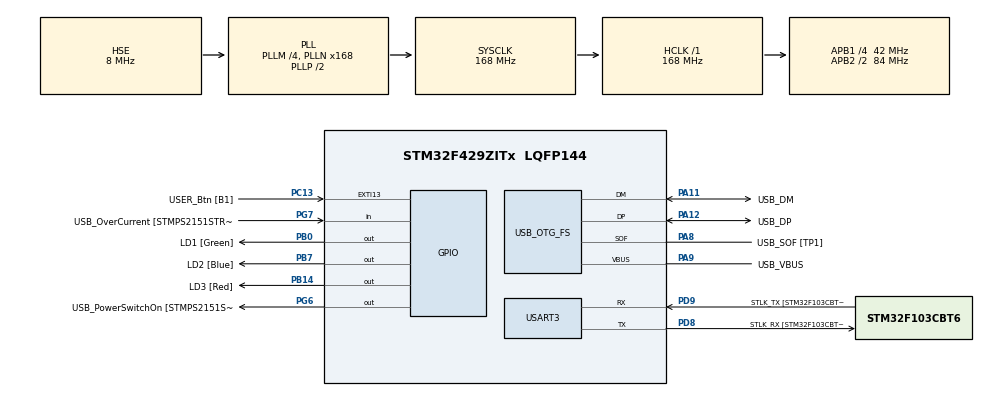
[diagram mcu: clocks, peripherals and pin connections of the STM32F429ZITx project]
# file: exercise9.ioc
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Mcu.Family=STM32F4
Mcu.Name=STM32F429ZITx
Mcu.Package=LQFP144
NVIC.OTG_FS_IRQn=true\:0\:0\:false\:false\:true\:true\:true
NVIC.PriorityGroup=NVIC_PRIORITYGROUP_4
PA1.GPIO_Label=RMII_REF_CLK [LAN8742A-CZ-TR_REFCLK0]
PA1.Signal=ETH_REF_CLK
PA10.GPIO_Label=USB_ID
PA10.Signal=USB_OTG_FS_ID
PA11.GPIO_Label=USB_DM
PA11.Mode=Device_Only
PA11.Signal=USB_OTG_FS_DM
PA12.GPIO_Label=USB_DP
PA12.Mode=Device_Only
PA12.Signal=USB_OTG_FS_DP
PA13.GPIO_Label=TMS
PA13.Mode=Serial_Wire
PA13.Signal=SYS_JTMS-SWDIO
PA14.GPIO_Label=TCK
PA14.Mode=Serial_Wire
PA14.Signal=SYS_JTCK-SWCLK
PA2.GPIO_Label=RMII_MDIO [LAN8742A-CZ-TR_MDIO]
PA2.Signal=ETH_MDIO
PA7.GPIO_Label=RMII_CRS_DV [LAN8742A-CZ-TR_CRS_DV]
PA7.Signal=ETH_CRS_DV
PA8.GPIO_Label=USB_SOF [TP1]
PA8.Mode=Activate_SOF_FS
PA8.Signal=USB_OTG_FS_SOF
PA9.GPIO_Label=USB_VBUS
PA9.Mode=Activate_VBUS
PA9.Signal=USB_OTG_FS_VBUS
PB0.GPIO_Label=LD1 [Green]
PB0.Signal=GPIO_Output
PB13.GPIO_Label=RMII_TXD1 [LAN8742A-CZ-TR_TXD1]
PB13.Signal=ETH_TXD1
PB14.GPIO_Label=LD3 [Red]
PB14.Signal=GPIO_Output
PB7.GPIO_Label=LD2 [Blue]
PB7.Signal=GPIO_Output
PC1.GPIO_Label=RMII_MDC [LAN8742A-CZ-TR_MDC]
PC1.Signal=ETH_MDC
PC13.GPIO_Label=USER_Btn [B1]
PC13.Signal=GPXTI13
PC14/OSC32_IN.Mode=LSE-External-Oscillator
PC14/OSC32_IN.Signal=RCC_OSC32_IN
PC15/OSC32_OUT.Mode=LSE-External-Oscillator
PC15/OSC32_OUT.Signal=RCC_OSC32_OUT
PC4.GPIO_Label=RMII_RXD0 [LAN8742A-CZ-TR_RXD0]
PC4.Signal=ETH_RXD0
PC5.GPIO_Label=RMII_RXD1 [LAN8742A-CZ-TR_RXD1]
PC5.Signal=ETH_RXD1
PD8.GPIO_Label=STLK_RX [STM32F103CBT6_PA3]
PD8.Mode=Asynchronous
PD8.Signal=USART3_TX
PD9.GPIO_Label=STLK_TX [STM32F103CBT6_PA2]
PD9.Mode=Asynchronous
PD9.Signal=USART3_RX
PG11.GPIO_Label=RMII_TX_EN [LAN8742A-CZ-TR_TXEN]
PG11.Signal=ETH_TX_EN
PG13.GPIO_Label=RMII_TXD0 [LAN8742A-CZ-TR_TXD0]
PG13.Signal=ETH_TXD0
PG6.GPIO_Label=USB_PowerSwitchOn [STMPS2151STR_EN]
PG6.Signal=GPIO_Output
PG7.GPIO_Label=USB_OverCurrent [STMPS2151STR_FAULT]
PG7.Signal=GPIO_Input
PH0/OSC_IN.GPIO_Label=MCO [STM32F103CBT6_PA8]
PH0/OSC_IN.Mode=HSE-External-Clock-Source
PH0/OSC_IN.Signal=RCC_OSC_IN
PH1/OSC_OUT.Mode=HSE-External-Clock-Source
PH1/OSC_OUT.Signal=RCC_OSC_OUT
ProjectManager.HeapSize=0x200
ProjectManager.StackSize=0x400
ProjectManager.TargetToolchain=STM32CubeIDE
RCC.48MHZClocksFreq_Value=48000000
RCC.AHBFreq_Value=168000000
RCC.APB1CLKDivider=RCC_HCLK_DIV4
RCC.APB1Freq_Value=42000000
RCC.APB1TimFreq_Value=84000000
RCC.APB2CLKDivider=RCC_HCLK_DIV2
RCC.APB2Freq_Value=84000000
RCC.APB2TimCLKDivider=2
RCC.APB2TimFreq_Value=168000000
RCC.CortexFreq_Value=168000000
RCC.HCLKFreq_Value=168000000
RCC.HSE_VALUE=8000000
RCC.HSI_VALUE=16000000
RCC.PLLM=4
RCC.PLLMUL=RCC_PLL_MUL9
RCC.PLLN=168
RCC.PLLQ=7
RCC.PRESCALERUSB=RCC_USBCLKSOURCE_PLL_DIV1_5
RCC.SYSCLKFreq_VALUE=168000000
RCC.SYSCLKSource=RCC_SYSCLKSOURCE_PLLCLK
RCC.SYSCLKSourceVirtual=RCC_SYSCLKSOURCE_PLLCLK
RCC.USBFreq_Value=48000000
RCC.VCOOutputFreq_Value=336000000
USART3.VirtualMode=VM_ASYNC
USB_DEVICE.CLASS_NAME_FS=HID
USB_DEVICE.VirtualMode-HID_FS=Hid
USB_DEVICE.VirtualModeFS=Hid_FS
USB_OTG_FS.VirtualMode=Device_Only
VP_USB_DEVICE_VS_USB_DEVICE_HID_FS.Mode=HID_FS
board=NUCLEO-F429ZI

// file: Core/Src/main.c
/* USER CODE BEGIN Header */
/**
  ******************************************************************************
  * @file           : main.c
  * @brief          : Main program body
  ******************************************************************************
  * @attention
  *
  * <h2><center>&copy; Copyright (c) 2020 STMicroelectronics.
  * All rights reserved.</center></h2>
  *
  * This software component is licensed by ST under BSD 3-Clause license,
  * the "License"; You may not use this file except in compliance with the
  * License. You may obtain a copy of the License at:
  *                        opensource.org/licenses/BSD-3-Clause
  *
  ******************************************************************************
  */
/* USER CODE END Header */
#include "main.h"
#include "usb_device.h"

/* USER CODE BEGIN Includes */
#include"usbd_hid.h"
#include"math.h"
#include"stdbool.h"
/* USER CODE END Includes */

/* USER CODE BEGIN PD */
#define pi  3.14159265
/* USER CODE END PD */

UART_HandleTypeDef huart3;

/* USER CODE BEGIN PV */

extern USBD_HandleTypeDef hUsbDeviceFS;
static bool btn;
/* USER CODE END PV */

void SystemClock_Config(void);
static void MX_GPIO_Init(void);
static void MX_USART3_UART_Init(void);

/* USER CODE BEGIN 0 */

//druhy bod zadani Function for drawing a circle
/*static void circle(static int radius){
	float phi = 0;
	float x,y;
	static float sx,sy;
    int delta_x,delta_y;
	float theta ;
	// drawing the main circle
	for(int i = 0; i <= 50; i++){
		x = radius*cos(phi);
		y = radius*sin(phi);
		delta_x = (int8_t)(x - sx);
		delta_y = (int8_t)(y - sy);
		sx = x;
		sy = y;
		step(delta_x,delta_y);
		phi += 0.04 * pi;
	}
} */

/* treti  bod zadani */
//function for shifting the position of the mouse
void static shift(int delta_x,int delta_y){

	uint8_t buff[4];
	buff[0] = 0x00; //  bez stisku tlacitka
	buff[1] = (int8_t)(delta_x); // posun X +10
	buff[2] = (int8_t)(delta_y); // posun Y -3
	buff[3] = 0; // bez scrollu
	USBD_HID_SendReport(&hUsbDeviceFS, buff, sizeof(buff));
	HAL_Delay(USBD_HID_GetPollingInterval(&hUsbDeviceFS));

}

// function for drawing
static void step(int delta_x,int delta_y,bool btn){
	if (btn){
	uint8_t buff[4];
	buff[0] = 0x01; // stiskni leve tlacitko
	buff[1] = (int8_t)(delta_x); //
	buff[2] = (int8_t)(delta_y); //
	buff[3] = 0; // bez scrollu
	USBD_HID_SendReport(&hUsbDeviceFS, buff, sizeof(buff));
	HAL_Delay(USBD_HID_GetPollingInterval(&hUsbDeviceFS));
	}
}
// function for the smiley face
static void smiley(int radius){
	float phi = 0;
	float x,y;
	static float sx,sy;
    int delta_x,delta_y;
	// drawing the main circle
	for(int i = 0; i <= 50; i++){
		x = radius*cos(phi);
		y = radius*sin(phi);
		delta_x = (int8_t)(x - sx);
		delta_y = (int8_t)(y - sy);
		sx = x;
		sy = y;
		step(delta_x,delta_y,btn);
		phi += 0.04 * pi;
		if(i == 50)phi =0;
	}

	// the first eye
	int radius_eyes = 0.1*radius;
	shift(0.25*radius,0.25*radius);
	// the fist eye
	for(int i = 0; i <= 50; i++){
			x = radius_eyes*cos(phi);
			y = radius_eyes*sin(phi);
			delta_x = (int8_t)(x - sx);
			delta_y = (int8_t)(y - sy);
			sx = x;
			sy = y;
			step(delta_x,delta_y,btn);
			phi += 0.04 * pi;
			if(i == 50)phi =0;
			}
	// the second eye
	int position_second_eye = 1.5*radius-radius_eyes;  // starting position of cursor for second eye
	shift(position_second_eye,0);
	for(int i = 0; i <= 50; i++){
			x = radius_eyes*cos(phi);
			y = radius_eyes*sin(phi);
			delta_x = (int8_t)(x - sx);
			delta_y = (int8_t)(y - sy);
			sx = x;
			sy = y;
			step(delta_x,delta_y,btn);
			phi += 0.04 * pi;
			if(i == 50)phi = 0;
			}

	 //The nose
	 int position_nose_x = 0.75*radius-0.25*radius_eyes;
	 int position_nose_y = 0.75*radius_eyes;
	 shift(position_nose_x,position_nose_y);
	 step(0,0.65*radius,btn);

	 // the smile
	 int radius_smile =0.90*radius;
	 phi = 1.25*pi;
	 shift(position_nose_x,0);
		for(int i = 0; i <= 12; i++){
			x = radius_smile*cos(phi);
			y = radius_smile*sin(phi);
			delta_x = (int8_t)(x - sx);
			delta_y = (int8_t)(y - sy);
			sx = x;
			sy = y;
			step(delta_x,delta_y,btn);
			phi += 0.04 * pi;
		}
}

/* USER CODE END 0 */

int main(void)
{

  /* MCU Configuration--------------------------------------------------------*/

  /* Reset of all peripherals, Initializes the Flash interface and the Systick. */
  HAL_Init();

  /* Configure the system clock */
  SystemClock_Config();

  /* Initialize all configured peripherals */
  MX_GPIO_Init();
  MX_USART3_UART_Init();
  MX_USB_DEVICE_Init();

  /* Infinite loop */
  /* USER CODE BEGIN WHILE */
  while (1)
  {
	  //do {HAL_Delay(40);} while(!HAL_GPIO_ReadPin(USER_Btn_GPIO_Port,USER_Btn_Pin));
	/* prvni bod zadani
	 *  uint8_t buff[4];
	  buff[0] = 0x01; // stiskni leve tlacitko
	  buff[1] = (int8_t)(10); // posun X +10
	  buff[2] = (int8_t)(-3); // posun Y -3
	  buff[3] = 0; // bez scrollu
	  USBD_HID_SendReport(&hUsbDeviceFS, buff, sizeof(buff));
	  HAL_Delay(USBD_HID_GetPollingInterval(&hUsbDeviceFS));
	*/
	  if(!HAL_GPIO_ReadPin(USER_Btn_GPIO_Port,USER_Btn_Pin)) btn = true;
	  smiley(20);
    /* USER CODE END WHILE */

  }
}

void SystemClock_Config(void)
{
  RCC_OscInitTypeDef RCC_OscInitStruct = {0};
  RCC_ClkInitTypeDef RCC_ClkInitStruct = {0};

  /** Configure the main internal regulator output voltage
  */
  __HAL_RCC_PWR_CLK_ENABLE();
  __HAL_PWR_VOLTAGESCALING_CONFIG(PWR_REGULATOR_VOLTAGE_SCALE1);
  /** Initializes the RCC Oscillators according to the specified parameters
  * in the RCC_OscInitTypeDef structure.
  */
  RCC_OscInitStruct.OscillatorType = RCC_OSCILLATORTYPE_HSE;
  RCC_OscInitStruct.HSEState = RCC_HSE_BYPASS;
  RCC_OscInitStruct.PLL.PLLState = RCC_PLL_ON;
  RCC_OscInitStruct.PLL.PLLSource = RCC_PLLSOURCE_HSE;
  RCC_OscInitStruct.PLL.PLLM = 4;
  RCC_OscInitStruct.PLL.PLLN = 168;
  RCC_OscInitStruct.PLL.PLLP = RCC_PLLP_DIV2;
  RCC_OscInitStruct.PLL.PLLQ = 7;
  if (HAL_RCC_OscConfig(&RCC_OscInitStruct) != HAL_OK)
  {
    Error_Handler();
  }
  /** Initializes the CPU, AHB and APB buses clocks
  */
  RCC_ClkInitStruct.ClockType = RCC_CLOCKTYPE_HCLK|RCC_CLOCKTYPE_SYSCLK
                              |RCC_CLOCKTYPE_PCLK1|RCC_CLOCKTYPE_PCLK2;
  RCC_ClkInitStruct.SYSCLKSource = RCC_SYSCLKSOURCE_PLLCLK;
  RCC_ClkInitStruct.AHBCLKDivider = RCC_SYSCLK_DIV1;
  RCC_ClkInitStruct.APB1CLKDivider = RCC_HCLK_DIV4;
  RCC_ClkInitStruct.APB2CLKDivider = RCC_HCLK_DIV2;

  if (HAL_RCC_ClockConfig(&RCC_ClkInitStruct, FLASH_LATENCY_5) != HAL_OK)
  {
    Error_Handler();
  }
}

static void MX_USART3_UART_Init(void)
{

  huart3.Instance = USART3;
  huart3.Init.BaudRate = 115200;
  huart3.Init.WordLength = UART_WORDLENGTH_8B;
  huart3.Init.StopBits = UART_STOPBITS_1;
  huart3.Init.Parity = UART_PARITY_NONE;
  huart3.Init.Mode = UART_MODE_TX_RX;
  huart3.Init.HwFlowCtl = UART_HWCONTROL_NONE;
  huart3.Init.OverSampling = UART_OVERSAMPLING_16;
  if (HAL_UART_Init(&huart3) != HAL_OK)
  {
    Error_Handler();
  }

}

static void MX_GPIO_Init(void)
{
  GPIO_InitTypeDef GPIO_InitStruct = {0};

  /* GPIO Ports Clock Enable */
  __HAL_RCC_GPIOC_CLK_ENABLE();
  __HAL_RCC_GPIOH_CLK_ENABLE();
  __HAL_RCC_GPIOA_CLK_ENABLE();
  __HAL_RCC_GPIOB_CLK_ENABLE();
  __HAL_RCC_GPIOD_CLK_ENABLE();
  __HAL_RCC_GPIOG_CLK_ENABLE();

  /*Configure GPIO pin Output Level */
  HAL_GPIO_WritePin(GPIOB, LD1_Pin|LD3_Pin|LD2_Pin, GPIO_PIN_RESET);

  /*Configure GPIO pin Output Level */
  HAL_GPIO_WritePin(USB_PowerSwitchOn_GPIO_Port, USB_PowerSwitchOn_Pin, GPIO_PIN_RESET);

  /*Configure GPIO pin : USER_Btn_Pin */
  GPIO_InitStruct.Pin = USER_Btn_Pin;
  GPIO_InitStruct.Mode = GPIO_MODE_IT_RISING;
  GPIO_InitStruct.Pull = GPIO_NOPULL;
  HAL_GPIO_Init(USER_Btn_GPIO_Port, &GPIO_InitStruct);

  /*Configure GPIO pins : RMII_MDC_Pin RMII_RXD0_Pin RMII_RXD1_Pin */
  GPIO_InitStruct.Pin = RMII_MDC_Pin|RMII_RXD0_Pin|RMII_RXD1_Pin;
  GPIO_InitStruct.Mode = GPIO_MODE_AF_PP;
  GPIO_InitStruct.Pull = GPIO_NOPULL;
  GPIO_InitStruct.Speed = GPIO_SPEED_FREQ_VERY_HIGH;
  GPIO_InitStruct.Alternate = GPIO_AF11_ETH;
  HAL_GPIO_Init(GPIOC, &GPIO_InitStruct);

  /*Configure GPIO pins : RMII_REF_CLK_Pin RMII_MDIO_Pin RMII_CRS_DV_Pin */
  GPIO_InitStruct.Pin = RMII_REF_CLK_Pin|RMII_MDIO_Pin|RMII_CRS_DV_Pin;
  GPIO_InitStruct.Mode = GPIO_MODE_AF_PP;
  GPIO_InitStruct.Pull = GPIO_NOPULL;
  GPIO_InitStruct.Speed = GPIO_SPEED_FREQ_VERY_HIGH;
  GPIO_InitStruct.Alternate = GPIO_AF11_ETH;
  HAL_GPIO_Init(GPIOA, &GPIO_InitStruct);

  /*Configure GPIO pins : LD1_Pin LD3_Pin LD2_Pin */
  GPIO_InitStruct.Pin = LD1_Pin|LD3_Pin|LD2_Pin;
  GPIO_InitStruct.Mode = GPIO_MODE_OUTPUT_PP;
  GPIO_InitStruct.Pull = GPIO_NOPULL;
  GPIO_InitStruct.Speed = GPIO_SPEED_FREQ_LOW;
  HAL_GPIO_Init(GPIOB, &GPIO_InitStruct);

  /*Configure GPIO pin : RMII_TXD1_Pin */
  GPIO_InitStruct.Pin = RMII_TXD1_Pin;
  GPIO_InitStruct.Mode = GPIO_MODE_AF_PP;
  GPIO_InitStruct.Pull = GPIO_NOPULL;
  GPIO_InitStruct.Speed = GPIO_SPEED_FREQ_VERY_HIGH;
  GPIO_InitStruct.Alternate = GPIO_AF11_ETH;
  HAL_GPIO_Init(RMII_TXD1_GPIO_Port, &GPIO_InitStruct);

  /*Configure GPIO pin : USB_PowerSwitchOn_Pin */
  GPIO_InitStruct.Pin = USB_PowerSwitchOn_Pin;
  GPIO_InitStruct.Mode = GPIO_MODE_OUTPUT_PP;
  GPIO_InitStruct.Pull = GPIO_NOPULL;
  GPIO_InitStruct.Speed = GPIO_SPEED_FREQ_LOW;
  HAL_GPIO_Init(USB_PowerSwitchOn_GPIO_Port, &GPIO_InitStruct);

  /*Configure GPIO pin : USB_OverCurrent_Pin */
  GPIO_InitStruct.Pin = USB_OverCurrent_Pin;
  GPIO_InitStruct.Mode = GPIO_MODE_INPUT;
  GPIO_InitStruct.Pull = GPIO_NOPULL;
  HAL_GPIO_Init(USB_OverCurrent_GPIO_Port, &GPIO_InitStruct);

  /*Configure GPIO pins : RMII_TX_EN_Pin RMII_TXD0_Pin */
  GPIO_InitStruct.Pin = RMII_TX_EN_Pin|RMII_TXD0_Pin;
  GPIO_InitStruct.Mode = GPIO_MODE_AF_PP;
  GPIO_InitStruct.Pull = GPIO_NOPULL;
  GPIO_InitStruct.Speed = GPIO_SPEED_FREQ_VERY_HIGH;
  GPIO_InitStruct.Alternate = GPIO_AF11_ETH;
  HAL_GPIO_Init(GPIOG, &GPIO_InitStruct);

}

void Error_Handler(void)
{
}

/************************ (C) COPYRIGHT STMicroelectronics *****END OF FILE****/
